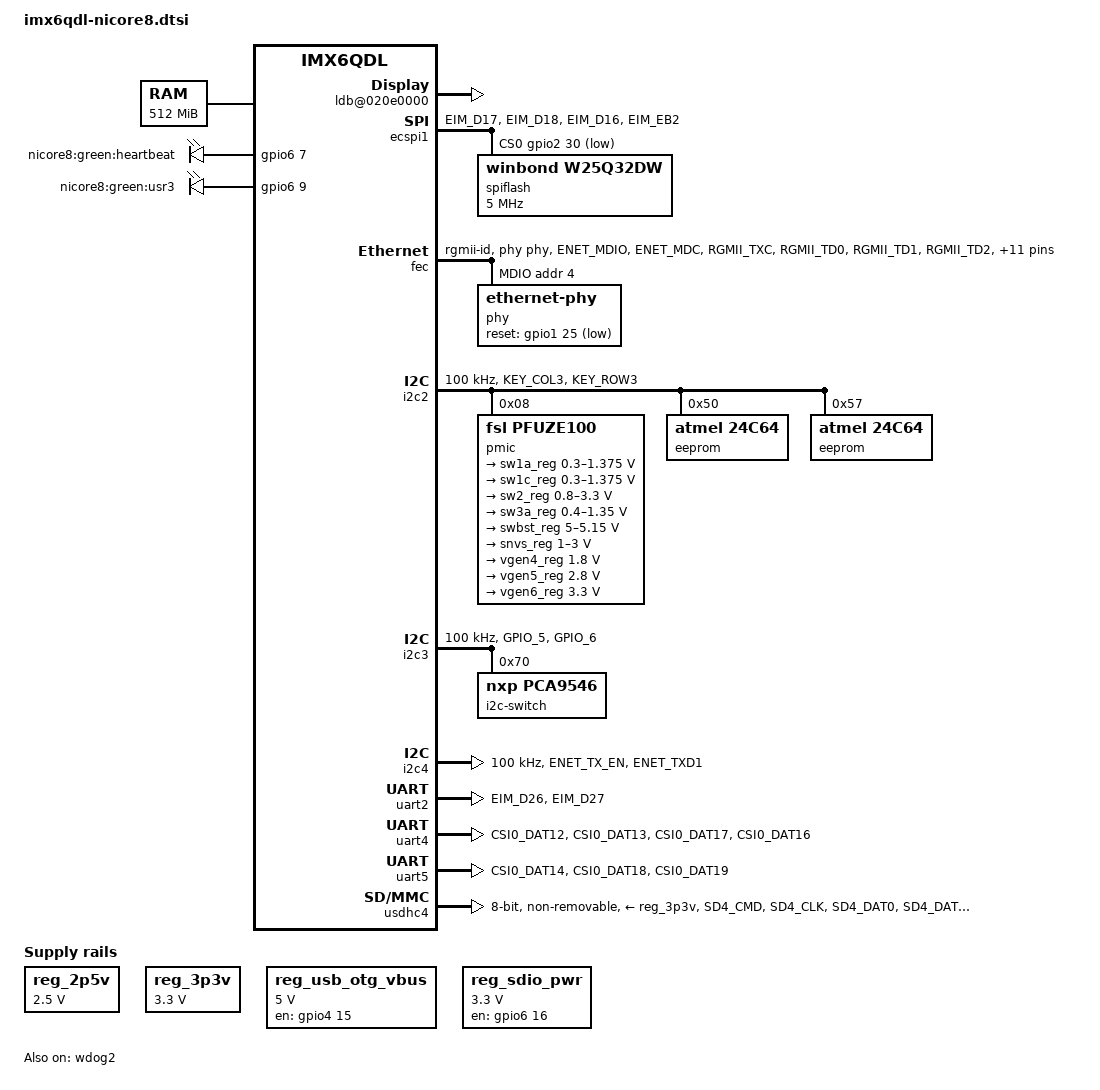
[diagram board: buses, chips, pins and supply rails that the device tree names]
// SPDX-License-Identifier: GPL-2.0 OR X11
/*
 * Copyright 2015 Boundary Devices, Inc.
 * Copyright 2021 Logos Payment Solutions A/S
 */

#include <dt-bindings/gpio/gpio.h>
#include <dt-bindings/input/input.h>

/ {
	memory@10000000 {
		device_type = "memory";
		reg = <0x10000000 0x20000000>; /* 512 MB */
	};

	chosen {
		stdout-path = &uart4;
	};

	aliases {
		mmc0 = &usdhc4; // eMMC on NiCore8
		mmc1 = &usdhc3; // eMMC on carrier
		mmc2 = &usdhc1; // SD card on carrier

		usb0 = &usbotg;
		usb1 = &usbh1;

		ethernet0 = &fec;

		// I2C labels follows naming on schematics, aliases below keeps it simple
		i2c1 = &i2c2;
		i2c2 = &i2c3;
		i2c3 = &i2c4;
		i2c4 = &i2c_lcd;
		i2c5 = &i2c_hdmi;
		i2c6 = &i2c_gp;
		i2c7 = &i2c_cam;

        	//backlight_lvds = &backlight_lvds;
        	fb_lvds = &fb_lvds;
        	ldb = &ldb;
        	mxcfb0 = &fb_lvds;
        	//pwm_lvds = &pwm4;
	};

	leds {
		pinctrl-names = "default";
		pinctrl-0 = <&pinctrl_leds>;

		compatible = "gqpio-leds";

		/* LED1 on schematic, LED2 on board */
		led1 {
			label = "nicore8:green:heartbeat";
			gpios = <&gpio6 7 GPIO_ACTIVE_HIGH>;
			linux,default-trigger = "heartbeat";
			default-state = "off";
		};

		/* LED2 on schematic, LED3 on board */
		led2 {
			label = "nicore8:green:usr3";
			gpios = <&gpio6 9 GPIO_ACTIVE_HIGH>;
			linux,default-trigger = "cpu0";
			default-state = "off";
		};
	};

    /*
    backlight_lvds: backlight-lvds {
        compatible = "pwm-backlight";
        pwms = <&pwm4 0 5000000>; // MX6QDL_PAD_KEY_ROW0__GPIO4_IO07 - DISP_BKLT_PWM

        brightness-levels = <0 4 8 16 32 64 128 255>;
        default-brightness-level = <8>;

        //display = <&fb_lvds>;
        power-supply = <&reg_3p3v>;
        enable-gpios = <&gpio 4 6>; // MX6QDL_PAD_KEY_COL0__GPIO4_IO06 - DISP_VDD_EN
        status = "okay";
    };
    */

    // LVDS frame buffer node - binding to MXC graphics driver
    fb_lvds: fb@0 {
        compatible = "fsl,mxc_sdc_fb";
        disp_dev = "ldb";
        interface_pix_fmt = "RGB24";
        default_bpp = <32>;
        int_clk = <0>;
        late_init = <0>;
        status = "okay";
    };

    // SHARP LQ121 12.1"
    /*
    panel_lvds0 {
        compatible = "sharp,lq121s1lg86";
        backlight = <&backlight_lvds>;
        port {
            panel_in: endpoint {
                remote-endpoint = <&lvds0_out>;
            };
        };
    };
    */

    // LVDS Display Bridge - interface of the i.MX6 CPU that connects the IPU to an external LVDS display interface
    ldb@020e0000 {
        status = "okay";
        lvds-channel@0 {
            crtc = "ipu1-di0";
            fsl,data-mapping = "jeida";
            fsl,data-width = <24>; // TODO: ? 18-bit 262144 colors.
            primary;
            status = "okay";

            native-mode = <&timing0>;
            timing0: lq121s1lg86 {
                clock-frequency = <40000000>;
                hactive = <800>;
                vactive = <600>;
                hfront-porch = <246>; // TH - THd = 1056 - 800 = 256 - 10 (hsync-len) = 246
                hback-porch = <0>;
                hsync-len = <10>; // Not mentioned in datasheet, driver does not allow 0.
                vback-porch = <0>;
                vfront-porch = <56>; // TV - TVd = 666 - 600 = 66 - 10 (vsync-len) =  56
                vsync-len = <10>; // Not mentioned in datasheet, driver does not allow 0.
            };
        };
    };

    regulators {
		compatible = "simple-bus";
		#address-cells = <1>;
		#size-cells = <0>;

		reg_2p5v: regulator@0 {
			compatible = "regulator-fixed";
			reg = <0>;
			regulator-name = "2P5V";
			regulator-min-microvolt = <2500000>;
			regulator-max-microvolt = <2500000>;
			regulator-always-on;
		};

		reg_3p3v: regulator@1 {
			compatible = "regulator-fixed";
			reg = <1>;			
			regulator-name = "3P3V";
			regulator-min-microvolt = <3300000>;
			regulator-max-microvolt = <3300000>;
			regulator-always-on;
		};

		reg_usb_otg_vbus: regulator@2 {
			compatible = "regulator-fixed";
			reg = <2>;
			regulator-name = "USB_OTG_PWR";
			regulator-min-microvolt = <5000000>;
			regulator-max-microvolt = <5000000>;
			gpio = <&gpio4 15 GPIO_ACTIVE_HIGH>;
			enable-active-high;
		};

		reg_sdio_pwr: regulator@3 {
			compatible = "regulator-fixed";
			reg = <3>;
			regulator-name = "SDIO_PWR";
			regulator-min-microvolt = <3300000>;
			regulator-max-microvolt = <3300000>;
			enable-active-high;
			gpio = <&gpio6 16 GPIO_ACTIVE_HIGH>;
			regulator-boot-on;
		};

	};
};

&iomuxc {
	pinctrl-names = "default";

	imx6dl-nicore8 {
		pinctrl_ecspi1: ecspi1grp {
			fsl,pins = <
				MX6QDL_PAD_EIM_D17__ECSPI1_MISO		0x100b1
				MX6QDL_PAD_EIM_D18__ECSPI1_MOSI		0x100b1
				MX6QDL_PAD_EIM_D16__ECSPI1_SCLK		0x100b1
				MX6QDL_PAD_EIM_EB2__GPIO2_IO30		0x000b1
				>;
			};

		/*
		pinctrl_usbotgvbus: usbotgvbusgrp {
			fsl,pins = <
				MX6QDL_PAD_KEY_ROW4__GPIO4_IO15		0x130b0
			>;
		};
		*/

		pinctrl_enet: enetgrp {
			fsl,pins = <
				MX6QDL_PAD_ENET_MDIO__ENET_MDIO		0x1b0b0
				MX6QDL_PAD_ENET_MDC__ENET_MDC		0x1b0b0
				MX6QDL_PAD_RGMII_TXC__RGMII_TXC		0x1b030
				MX6QDL_PAD_RGMII_TD0__RGMII_TD0		0x1b030
				MX6QDL_PAD_RGMII_TD1__RGMII_TD1		0x1b030
				MX6QDL_PAD_RGMII_TD2__RGMII_TD2		0x1b030
				MX6QDL_PAD_RGMII_TD3__RGMII_TD3		0x1b030
				MX6QDL_PAD_RGMII_TX_CTL__RGMII_TX_CTL	0x1b030
				MX6QDL_PAD_ENET_REF_CLK__ENET_TX_CLK	0x0a0b1
				MX6QDL_PAD_RGMII_RXC__RGMII_RXC		0x1b030
				MX6QDL_PAD_RGMII_RD0__RGMII_RD0		0x13030
				MX6QDL_PAD_RGMII_RD1__RGMII_RD1		0x13030
				MX6QDL_PAD_RGMII_RD2__RGMII_RD2		0x1b030
				MX6QDL_PAD_RGMII_RD3__RGMII_RD3		0x1b030
				MX6QDL_PAD_RGMII_RX_CTL__RGMII_RX_CTL	0x130b0
				MX6QDL_PAD_ENET_CRS_DV__GPIO1_IO25	0x130b0 // RGMII_nRST
				MX6QDL_PAD_ENET_RXD0__GPIO1_IO27	0x180b0 // RGMII_INT
			>;
		};

/* TODO
		pinctrl_i2c1: i2c1grp {
			fsl,pins = <
				MX6QDL_PAD_KEY_COL3__I2C2_SCL		0x4001b8b1
				MX6QDL_PAD_KEY_ROW3__I2C2_SDA		0x4001b8b1
			>;
		};
*/

		pinctrl_i2c2: i2c2grp {
			fsl,pins = <
				MX6QDL_PAD_KEY_COL3__I2C2_SCL		0x4001b8b1
				MX6QDL_PAD_KEY_ROW3__I2C2_SDA		0x4001b8b1
			>;
		};

		pinctrl_i2c3: i2c3grp {
			fsl,pins = <
				MX6QDL_PAD_GPIO_5__I2C3_SCL		0x4001b8b1
				MX6QDL_PAD_GPIO_6__I2C3_SDA		0x4001b8b1
			>;
		};

		pinctrl_i2c4: i2c4grp {
			fsl,pins = <
				MX6QDL_PAD_ENET_TX_EN__I2C4_SCL		0x4001b8b1
				MX6QDL_PAD_ENET_TXD1__I2C4_SDA		0x4001b8b1
			>;
		};

		pinctrl_wdog: wdoggrp {
			fsl,pins = <
			      MX6QDL_PAD_GPIO_9__WDOG1_B		0x1b0b0
			>;
		};

		pinctrl_leds: ledsgrp {
			fsl,pins = <
			      MX6QDL_PAD_NANDF_CLE__GPIO6_IO07	0x0b0b0 // LED 2, output 40 Ohm
			      MX6QDL_PAD_NANDF_WP_B__GPIO6_IO09	0x0b0b0 // LED 3, output 40 Ohm
			      >;
		};

		/* SER1 on schematics */
		pinctrl_uart2: uart2grp {
			fsl,pins = <
			       MX6QDL_PAD_EIM_D26__UART2_TX_DATA	0x1b0b1
			       MX6QDL_PAD_EIM_D27__UART2_RX_DATA	0x1b0b1
			>;
		};

		/* SER0 on schematics */
		pinctrl_uart4: uart4grp {
			fsl,pins = <
			       MX6QDL_PAD_CSI0_DAT12__UART4_TX_DATA	0x1b0b1
			       MX6QDL_PAD_CSI0_DAT13__UART4_RX_DATA	0x1b0b1
			       MX6QDL_PAD_CSI0_DAT17__UART4_CTS_B	0x1b0b1
			       MX6QDL_PAD_CSI0_DAT16__UART4_RTS_B	0x1b0b1
			>;
		};

		/* SER2 on schematics */
		pinctrl_uart5: uart5grp {
			fsl,pins = <
				MX6QDL_PAD_CSI0_DAT14__UART5_TX_DATA	0x1b0b1
				MX6QDL_PAD_CSI0_DAT14__UART5_RX_DATA	0x1b0b1
				MX6QDL_PAD_CSI0_DAT18__UART5_RTS_B	0x1b0b1
				MX6QDL_PAD_CSI0_DAT19__UART5_CTS_B	0x1b0b1
			>;
		};

        	pinctrl_usdhc1: usdhc1_grp {
                	fsl,pins = <
                        	MX6QDL_PAD_SD1_CMD__SD1_CMD             0x17059
                        	MX6QDL_PAD_SD1_CLK__SD1_CLK             0x10059
                        	MX6QDL_PAD_SD1_DAT0__SD1_DATA0          0x17059
                        	MX6QDL_PAD_SD1_DAT1__SD1_DATA1          0x17059
                        	MX6QDL_PAD_SD1_DAT2__SD1_DATA2          0x17059
                        	MX6QDL_PAD_SD1_DAT3__SD1_DATA3          0x17059
                        	MX6QDL_PAD_NANDF_CS1__GPIO6_IO14        0x1b0b0
                	>;
        	};

 		pinctrl_usdhc3: usdhc3_grp {
                	fsl,pins = <
                        	MX6QDL_PAD_SD3_CMD__SD3_CMD             0x17059
                        	MX6QDL_PAD_SD3_CLK__SD3_CLK             0x10059
                        	MX6QDL_PAD_SD3_DAT0__SD3_DATA0          0x17059
                        	MX6QDL_PAD_SD3_DAT1__SD3_DATA1          0x17059
                        	MX6QDL_PAD_SD3_DAT2__SD3_DATA2          0x17059
                        	MX6QDL_PAD_SD3_DAT3__SD3_DATA3          0x17059
                        	MX6QDL_PAD_SD3_DAT4__SD3_DATA4          0x17059
                        	MX6QDL_PAD_SD3_DAT5__SD3_DATA5          0x17059
                        	MX6QDL_PAD_SD3_DAT6__SD3_DATA6          0x17059
                        	MX6QDL_PAD_SD3_DAT7__SD3_DATA7          0x17059
                	>;
        	};

		pinctrl_usdhc4: usdhc4_grp {
			fsl,pins = <
				MX6QDL_PAD_SD4_CMD__SD4_CMD		0x17059
				MX6QDL_PAD_SD4_CLK__SD4_CLK		0x10059
				MX6QDL_PAD_SD4_DAT0__SD4_DATA0		0x17059
				MX6QDL_PAD_SD4_DAT1__SD4_DATA1		0x17059
				MX6QDL_PAD_SD4_DAT2__SD4_DATA2		0x17059
				MX6QDL_PAD_SD4_DAT3__SD4_DATA3		0x17059
				MX6QDL_PAD_SD4_DAT4__SD4_DATA4		0x17059
				MX6QDL_PAD_SD4_DAT5__SD4_DATA5		0x17059
				MX6QDL_PAD_SD4_DAT6__SD4_DATA6		0x17059
				MX6QDL_PAD_SD4_DAT7__SD4_DATA7		0x17059
			>;
		};

        /* TODO: CTP We need to verify HW mapping first
        pinctrl_pwm1: pwm1grp {
            fsl,pins = <
            MX6QDL_PAD_SD1_DAT3__PWM1_OUT           0x1b0b1
            >;
        };

        pinctrl_pwm2: pwm2grp {
            fsl,pins = <
            MX6QDL_PAD_SD1_DAT3__PWM1_OUT           0x1b0b1
            >;
        };

        pinctrl_pwm3: pwm3grp {
            fsl,pins = <
            MX6QDL_PAD_SD1_DAT1__PWM3_OUT           0x1b0b1
            >;
        };

        pinctrl_pwm4: pwm4grp {
            fsl,pins = <
            MX6QDL_PAD_SD1_CMD__PWM4_OUT            0x1b0b1
            >;
        };
        */

	};
};

&clks {
	assigned-clocks = <&clks IMX6QDL_CLK_LDB_DI0_SEL>,
		<&clks IMX6QDL_CLK_LDB_DI1_SEL>;
	assigned-clock-parents = <&clks IMX6QDL_CLK_PLL3_USB_OTG>,
		<&clks IMX6QDL_CLK_PLL3_USB_OTG>;
};

&ecspi1 {
	cs-gpios = <&gpio2 30 GPIO_ACTIVE_LOW>;
	pinctrl-names = "default";
	pinctrl-0 = <&pinctrl_ecspi1>;
	status = "okay";

	spiflash: w25q32dw@0 {
		compatible = "winbond,w25q32dw", "jedec,spi-nor";
		spi-max-frequency = <5000000>;
		reg = <0>;
	};
};

&fec {
	pinctrl-names = "default";
	pinctrl-0 = <&pinctrl_enet>;
	phy-mode = "rgmii-id";
	phy-handle = <&phy>;
	phy-reset-duration = <10>;
	status = "okay";

	mdio {
		#address-cells = <1>;
		#size-cells = <0>;

   		/* Atheros AR8035 PHY */
		phy: ethernet-phy@4 {
			reg = <4>;
			reset-gpios = <&gpio1 25 GPIO_ACTIVE_LOW>;
			qca,clk-out-frequency = <125000000>;
		};
	};
};

&i2c2 {
	clock-frequency = <100000>;
	pinctrl-names = "default";
	pinctrl-0 = <&pinctrl_i2c2>;
	status = "okay";

    	pmic: pfuze100@8 {
        	compatible = "fsl,pfuze100";
        	reg = <0x08>;

        regulators {
            // VDD_CORE
            sw1a_reg: sw1ab {
                regulator-min-microvolt = <300000>;
                regulator-max-microvolt = <1375000>;
                regulator-boot-on;
                regulator-always-on;
                regulator-ramp-delay = <6250>;
            };

            // VDD_SOC
            sw1c_reg: sw1c {
                regulator-min-microvolt = <300000>;
                regulator-max-microvolt = <1375000>;
                regulator-boot-on;
                regulator-always-on;
                regulator-ramp-delay = <6250>;
            };

            // GEN_3V3
            sw2_reg: sw2 {
                regulator-min-microvolt = <800000>;
                regulator-max-microvolt = <3300000>;
                regulator-boot-on;
                regulator-always-on;
            };

            // DDR_1V35
            sw3a_reg: sw3a {
                regulator-min-microvolt = <400000>;
                regulator-max-microvolt = <1350000>;
                regulator-boot-on;
                regulator-always-on;
            };

            /* Check this?
            sw3b_reg: sw3b {
                regulator-min-microvolt = <400000>;
                regulator-max-microvolt = <1350000>;
                regulator-boot-on;
                regulator-always-on;
            };
            */

            // SWBST_5V
            swbst_reg: swbst {
                regulator-min-microvolt = <5000000>;
                regulator-max-microvolt = <5150000>;
                regulator-boot-on;
                regulator-always-on;
            };

            snvs_reg: vsnvs {
                regulator-min-microvolt = <1000000>;
                regulator-max-microvolt = <3000000>;
                regulator-boot-on;
                regulator-always-on;
            };

            vref_reg: vrefddr {
                regulator-boot-on;
                regulator-always-on;
            };

            // vgen1 (1.5V), vgen2 (1.5V) and vgen3 (2.5V) unused

            vgen4_reg: vgen4 {
                regulator-min-microvolt = <1800000>;
                regulator-max-microvolt = <1800000>;
                regulator-boot-on;
                regulator-always-on;
            };

            vgen5_reg: vgen5 {
                regulator-min-microvolt = <2800000>;
                regulator-max-microvolt = <2800000>;
                regulator-boot-on;
                regulator-always-on;
            };

            vgen6_reg: vgen6 {
                regulator-min-microvolt = <3300000>;
                regulator-max-microvolt = <3300000>;
                regulator-boot-on;
                regulator-always-on;
            };
        };
	};

	// As described in SMARC_Hardware_Specification_V1p1.pdf
	// SMARC Modules shall include an I2C serial EEPROM
	eeprom@50 {
                compatible = "atmel,24c64";
                reg = <0x50>;
        };

	// SMARC Carriers may include an I2C serial EEPROM
        eeprom@57 {
                compatible = "atmel,24c64";
                reg = <0x57>;
        };
};

&i2c3 {
	pinctrl-names = "default";
	clock-frequency = <100000>;
	pinctrl-0 = <&pinctrl_i2c3>;
	status = "okay";

	// PCA9546ABS I2C multiplexer
	i2c-switch@70 {
		compatible = "nxp,pca9546";
                reg = <0x70>;
                #address-cells = <1>;
                #size-cells = <0>;

                i2c_lcd: i2c@0 {
                        #address-cells = <1>;
                        #size-cells = <0>;
                        reg = <0>;
                };

                i2c_hdmi: i2c@1 {
                        #address-cells = <1>;
                        #size-cells = <0>;
                        reg = <1>;
                };

                i2c_gp: i2c@2 {
                        #address-cells = <1>;
                        #size-cells = <0>;
                        reg = <2>;
                };

                i2c_cam: i2c@3 {
                        #address-cells = <1>;
                        #size-cells = <0>;
                        reg = <3>;
                };

	};
};

&i2c4 {
	pinctrl-names = "default";
	clock-frequency = <100000>;
	pinctrl-0 = <&pinctrl_i2c4>;
	status = "okay";
};

&uart2 {
	pinctrl-names = "default";
	pinctrl-0 = <&pinctrl_uart2>;
	status = "okay";
};

&uart4 {
	pinctrl-names = "default";
	pinctrl-0 = <&pinctrl_uart4>;
	uart-has-rtscts;
	status = "okay";
};

&uart5 {
	pinctrl-names = "default";
	pinctrl-0 = <&pinctrl_uart5>;
	uart-has-rtscts;
	status = "okay";
};

&usdhc4 {
	pinctrl-names = "default";
	pinctrl-0 = <&pinctrl_usdhc4>;
	vmmc-supply = <&reg_3p3v>;
	bus-width = <8>;
	non-removable;
	status = "okay";
};

&wdog1 {
	status = "disabled";
};

&wdog2 {
	pinctrl-names = "default";
	pinctrl-0 = <&pinctrl_wdog>;
	fsl,ext-reset-output;
	status = "okay";
};

&gpio1 {
	gpio-line-names =
		"", // GPIO_0 GPIO1_IO00 0
		"", // GPIO_1 GPIO1_IO01 1
		"", // GPIO_2 GPIO1_IO02 2
		"", // GPIO_3 GPIO1_IO03 3
		"", // GPIO_4 GPIO1_IO04 4
		"", // GPIO_5 GPIO1_IO05 5
		"", // GPIO_6 GPIO1_IO06 6
		"", // GPIO_7 GPIO1_IO07 7
		"", // GPIO_8 GPIO1_IO08 8
		"", // GPIO_9 GPIO1_IO09 9
		"", // SD2_CLK GPIO1_IO10 10
		"", // SD2_CMD GPIO1_IO11 11
		"", // SD2_DAT3 GPIO1_IO12 12
		"", // SD2_DAT2 GPIO1_IO13 13
		"", // SD2_DAT1 GPIO1_IO14 14
		"", // SD2_DAT0 GPIO1_IO15 15
		"", // SD1_DAT0 GPIO1_IO16 16
		"", // SD1_DAT1 GPIO1_IO17 17
		"", // SD1_CMD GPIO1_IO18 18
		"", // SD1_DAT2 GPIO1_IO19 19
		"", // SD1_CLK GPIO1_IO20 20
		"", // SD1_DAT3 GPIO1_IO21 21
		"", // ENET_MDIO GPIO1_IO22 22
		"", // ENET_REF_CLK GPIO1_IO23 23
		"", // ENET_RX_ER GPIO1_IO24 24
		"", // ENET_CRS_DV GPIO1_IO25 25
		"", // ENET_RXD1 GPIO1_IO26 26
		"", // ENET_RXD0 GPIO1_IO27 27
		"", // ENET_TX_EN GPIO1_IO28 28
		"", // ENET_TXD1 GPIO1_IO29 29
		"", // ENET_TXD0 GPIO1_IO30 30
		""; // ENET_MDC GPIO1_IO31 31
};

&gpio2 {
	gpio-line-names =
		"", // NANDF_D0 GPIO2_IO00 32
		"", // NANDF_D1 GPIO2_IO01 33
		"", // NANDF_D2 GPIO2_IO02 34
		"", // NANDF_D3 GPIO2_IO03 35
		"", // NANDF_D4 GPIO2_IO04 36
		"", // NANDF_D5 GPIO2_IO05 37
		"", // NANDF_D6 GPIO2_IO06 38
		"", // NANDF_D7 GPIO2_IO07 39
		"", // SD4_DAT0 GPIO2_IO08 40
		"", // SD4_DAT1 GPIO2_IO09 41
		"", // SD4_DAT2 GPIO2_IO10 42
		"", // SD4_DAT3 GPIO2_IO11 43
		"", // SD4_DAT4 GPIO2_IO12 44
		"", // SD4_DAT5 GPIO2_IO13 45
		"", // SD4_DAT6 GPIO2_IO14 46
		"", // SD4_DAT7 GPIO2_IO15 47
		"", // EIM_A22 GPIO2_IO16 48
		"", // EIM_A21 GPIO2_IO17 49
		"", // EIM_A20 GPIO2_IO18 50
		"", // EIM_A19 GPIO2_IO19 51
		"", // EIM_A18 GPIO2_IO20 52
		"", // EIM_A17 GPIO2_IO21 53
		"", // EIM_A16 GPIO2_IO22 54
		"", // EIM_CS0 GPIO2_IO23 55
		"", // EIM_CS1 GPIO2_IO24 56
		"", // EIM_OE GPIO2_IO25 57
		"", // EIM_RW GPIO2_IO26 58
		"", // EIM_LBA GPIO2_IO27 59
		"", // EIM_EB0 GPIO2_IO28 60
		"", // EIM_EB1 GPIO2_IO29 61
		"", // EIM_EB2 GPIO2_IO30 62
		""; // EIM_EB3 GPIO2_IO31 63
};

&gpio3 {
	gpio-line-names =
		"", // EIM_DA0 GPIO3_IO00 64
		"", // EIM_DA1 GPIO3_IO01 65
		"", // EIM_DA2 GPIO3_IO02 66
		"", // EIM_DA3 GPIO3_IO03 67
		"", // EIM_DA4 GPIO3_IO04 68
		"", // EIM_DA5 GPIO3_IO05 69
		"", // EIM_DA6 GPIO3_IO06 70
		"", // EIM_DA7 GPIO3_IO07 71
		"", // EIM_DA8 GPIO3_IO08 72
		"", // EIM_DA9 GPIO3_IO09 73
		"", // EIM_DA10 GPIO3_IO10 74
		"", // EIM_DA11 GPIO3_IO11 75
		"", // EIM_DA12 GPIO3_IO12 76
		"", // EIM_DA13 GPIO3_IO13 77
		"", // EIM_DA14 GPIO3_IO14 78
		"", // EIM_DA15 GPIO3_IO15 79
		"", // EIM_D16 GPIO3_IO16 80
		"", // EIM_D17 GPIO3_IO17 81
		"", // EIM_D18 GPIO3_IO18 82
		"", // EIM_D19 GPIO3_IO19 83
		"", // EIM_D20 GPIO3_IO20 84
		"", // EIM_D21 GPIO3_IO21 85
		"", // EIM_D22 GPIO3_IO22 86
		"", // EIM_D23 GPIO3_IO23 87
		"", // EIM_D24 GPIO3_IO24 88
		"", // EIM_D25 GPIO3_IO25 89
		"", // EIM_D26 GPIO3_IO26 90
		"", // EIM_D27 GPIO3_IO27 91
		"", // EIM_D28 GPIO3_IO28 92
		"", // EIM_D29 GPIO3_IO29 93
		"", // EIM_D30 GPIO3_IO30 94
		""; // EIM_D31 GPIO3_IO31 95
};

&gpio4 {
	gpio-line-names =
		"", // GPIO_19 GPIO4_IO05 101
		"", // KEY_COL0 GPIO4_IO06 102
		"", // KEY_ROW0 GPIO4_IO07 103
		"", // KEY_COL1 GPIO4_IO08 104
		"", // KEY_ROW1 GPIO4_IO09 105
		"", // KEY_COL2 GPIO4_IO10 106
		"", // KEY_ROW2 GPIO4_IO11 107
		"", // KEY_COL3 GPIO4_IO12 108
		"", // KEY_ROW3 GPIO4_IO13 109
		"", // KEY_COL4 GPIO4_IO14 110
		"", // KEY_ROW4 GPIO4_IO15 111
		"", // DI0_DISP_CLK GPIO4_IO16 112
		"", // DI0_PIN15 GPIO4_IO17 113
		"", // DI0_PIN2 GPIO4_IO18 114
		"", // DI0_PIN3 GPIO4_IO19 115
		"", // DI0_PIN4 GPIO4_IO20 116
		"", // DISP0_DAT0 GPIO4_IO21 117
		"", // DISP0_DAT1 GPIO4_IO22 118
		"", // DISP0_DAT2 GPIO4_IO23 119
		"", // DISP0_DAT3 GPIO4_IO24 120
		"", // DISP0_DAT4 GPIO4_IO25 121
		"", // DISP0_DAT5 GPIO4_IO26 122
		"", // DISP0_DAT6 GPIO4_IO27 123
		"", // DISP0_DAT7 GPIO4_IO28 124
		"", // DISP0_DAT8 GPIO4_IO29 125
		"", // DISP0_DAT9 GPIO4_IO30 126
		""; // DISP0_DAT10 GPIO4_IO31 127
};

&gpio5 {
	gpio-line-names =
		"", // EIM_WAIT GPIO5_IO00 128
		"", // EIM_A25 GPIO5_IO02 130
		"", // EIM_A24 GPIO5_IO04 132
		"", // DISP0_DAT11 GPIO5_IO05 133
		"", // DISP0_DAT12 GPIO5_IO06 134
		"", // DISP0_DAT13 GPIO5_IO07 135
		"", // DISP0_DAT14 GPIO5_IO08 136
		"", // DISP0_DAT15 GPIO5_IO09 137
		"", // DISP0_DAT16 GPIO5_IO10 138
		"", // DISP0_DAT17 GPIO5_IO11 139
		"", // DISP0_DAT18 GPIO5_IO12 140
		"", // DISP0_DAT19 GPIO5_IO13 141
		"", // DISP0_DAT20 GPIO5_IO14 142
		"", // DISP0_DAT21 GPIO5_IO15 143
		"", // DISP0_DAT22 GPIO5_IO16 144
		"", // DISP0_DAT23 GPIO5_IO17 145
		"", // CSI0_PIXCLK GPIO5_IO18 146
		"", // CSI0_MCLK GPIO5_IO19 147
		"", // CSI0_DATA_EN GPIO5_IO20 148
		"", // CSI0_VSYNC GPIO5_IO21 149
		"", // CSI0_DAT4 GPIO5_IO22 150
		"", // CSI0_DAT5 GPIO5_IO23 151
		"", // CSI0_DAT6 GPIO5_IO24 152
		"", // CSI0_DAT7 GPIO5_IO25 153
		"", // CSI0_DAT8 GPIO5_IO26 154
		"", // CSI0_DAT9 GPIO5_IO27 155
		"", // CSI0_DAT10 GPIO5_IO28 156
		"", // CSI0_DAT11 GPIO5_IO29 157
		"", // CSI0_DAT12 GPIO5_IO30 158
		""; // CSI0_DAT13 GPIO5_IO31 159
};

&gpio6 {
	gpio-line-names =
		"", // CSI0_DAT14 GPIO6_IO00 160
		"", // CSI0_DAT15 GPIO6_IO01 161
		"", // CSI0_DAT16 GPIO6_IO02 162
		"", // CSI0_DAT17 GPIO6_IO03 163
		"", // CSI0_DAT18 GPIO6_IO04 164
		"", // CSI0_DAT19 GPIO6_IO05 165
		"", // EIM_A23 GPIO6_IO06 166
		"", // NANDF_CLE GPIO6_IO07 167
		"", // NANDF_ALE GPIO6_IO08 168
		"", // NANDF_WP_B GPIO6_IO09 169
		"", // NANDF_RB0 GPIO6_IO10 170
		"", // NANDF_CS0 GPIO6_IO11 171
		"", // NANDF_CS1 GPIO6_IO14 174
		"", // NANDF_CS2 GPIO6_IO15 175
		"", // NANDF_CS3 GPIO6_IO16 176
		"", // SD3_DAT7 GPIO6_IO17 177
		"", // SD3_DAT6 GPIO6_IO18 178
		"", // RGMII_TXC GPIO6_IO19 179
		"", // RGMII_TD0 GPIO6_IO20 180
		"", // RGMII_TD1 GPIO6_IO21 181
		"", // RGMII_TD2 GPIO6_IO22 182
		"", // RGMII_TD3 GPIO6_IO23 183
		"", // RGMII_RX_CTL GPIO6_IO24 184
		"", // RGMII_RD0 GPIO6_IO25 185
		"", // RGMII_TX_CTL GPIO6_IO26 186
		"", // RGMII_RD1 GPIO6_IO27 187
		"", // RGMII_RD2 GPIO6_IO28 188
		"", // RGMII_RD3 GPIO6_IO29 189
		"", // RGMII_RXC GPIO6_IO30 190
		""; // EIM_BCLK GPIO6_IO31 191
};

&gpio7 {
	gpio-line-names =
		"", // SD3_DAT5 GPIO7_IO00 192
		"", // SD3_DAT4 GPIO7_IO01 193
		"", // SD3_CMD GPIO7_IO02 194
		"", // SD3_CLK GPIO7_IO03 195
		"", // SD3_DAT0 GPIO7_IO04 196
		"", // SD3_DAT1 GPIO7_IO05 197
		"", // SD3_DAT2 GPIO7_IO06 198
		"", // SD3_DAT3 GPIO7_IO07 199
		"", // SD3_RST GPIO7_IO08 200
		"", // SD4_CMD GPIO7_IO09 201
		"", // SD4_CLK GPIO7_IO10 202
		"", // GPIO_16 GPIO7_IO11 203
		"", // GPIO_17 GPIO7_IO12 204
		""; // GPIO_18 GPIO7_IO13 205
};

